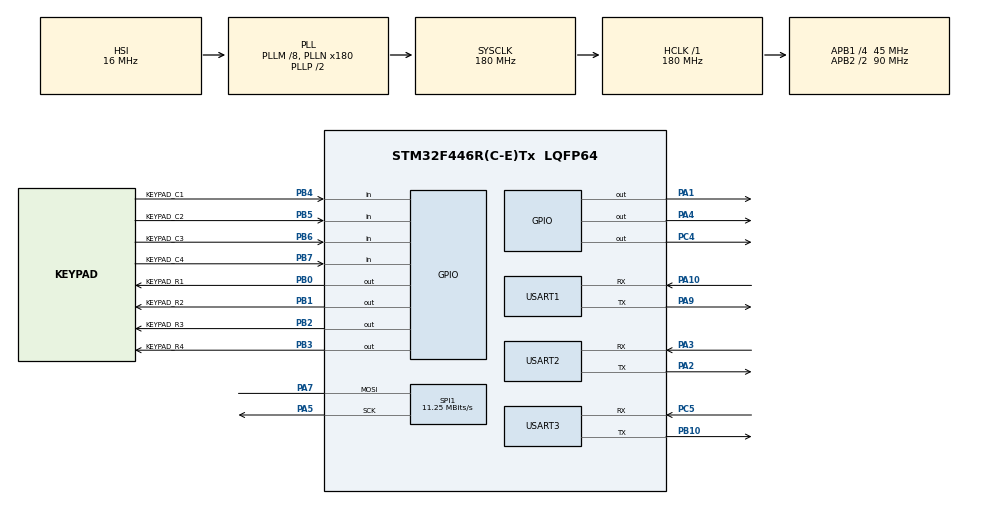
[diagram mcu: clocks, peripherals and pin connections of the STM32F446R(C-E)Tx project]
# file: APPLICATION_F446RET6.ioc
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Mcu.Family=STM32F4
Mcu.Name=STM32F446R(C-E)Tx
Mcu.Package=LQFP64
NVIC.PriorityGroup=NVIC_PRIORITYGROUP_4
NVIC.USART3_IRQn=true\:0\:0\:false\:false\:true\:true\:true\:true
PA1.Signal=GPIO_Output
PA10.Mode=Asynchronous
PA10.Signal=USART1_RX
PA2.Mode=Asynchronous
PA2.Signal=USART2_TX
PA3.Mode=Asynchronous
PA3.Signal=USART2_RX
PA4.Signal=GPIO_Output
PA5.Mode=Simplex_Bidirectional_Master
PA5.Signal=SPI1_SCK
PA7.Mode=Simplex_Bidirectional_Master
PA7.Signal=SPI1_MOSI
PA9.Mode=Asynchronous
PA9.Signal=USART1_TX
PB0.GPIO_Label=KEYPAD_R1
PB0.PinState=GPIO_PIN_SET
PB0.Signal=GPIO_Output
PB1.GPIO_Label=KEYPAD_R2
PB1.PinState=GPIO_PIN_SET
PB1.Signal=GPIO_Output
PB10.Mode=Asynchronous
PB10.Signal=USART3_TX
PB2.GPIO_Label=KEYPAD_R3
PB2.PinState=GPIO_PIN_SET
PB2.Signal=GPIO_Output
PB3.GPIO_Label=KEYPAD_R4
PB3.PinState=GPIO_PIN_SET
PB3.Signal=GPIO_Output
PB4.GPIO_Label=KEYPAD_C1
PB4.GPIO_PuPd=GPIO_PULLUP
PB4.Signal=GPIO_Input
PB5.GPIO_Label=KEYPAD_C2
PB5.GPIO_PuPd=GPIO_PULLUP
PB5.Signal=GPIO_Input
PB6.GPIO_Label=KEYPAD_C3
PB6.GPIO_PuPd=GPIO_PULLUP
PB6.Signal=GPIO_Input
PB7.GPIO_Label=KEYPAD_C4
PB7.GPIO_PuPd=GPIO_PULLUP
PB7.Signal=GPIO_Input
PC4.Signal=GPIO_Output
PC5.Mode=Asynchronous
PC5.Signal=USART3_RX
ProjectManager.HeapSize=0x200
ProjectManager.StackSize=0x400
ProjectManager.TargetToolchain=STM32CubeIDE
RCC.AHBFreq_Value=180000000
RCC.APB1CLKDivider=RCC_HCLK_DIV4
RCC.APB1Freq_Value=45000000
RCC.APB1TimFreq_Value=90000000
RCC.APB2CLKDivider=RCC_HCLK_DIV2
RCC.APB2Freq_Value=90000000
RCC.APB2TimFreq_Value=180000000
RCC.CortexFreq_Value=180000000
RCC.HCLKFreq_Value=180000000
RCC.PLLM=8
RCC.PLLN=180
RCC.SYSCLKFreq_VALUE=180000000
RCC.SYSCLKSource=RCC_SYSCLKSOURCE_PLLCLK
RCC.USBFreq_Value=180000000
RCC.VCOOutputFreq_Value=360000000
SPI1.BaudRatePrescaler=SPI_BAUDRATEPRESCALER_8
SPI1.CalculateBaudRate=11.25 MBits/s
SPI1.Direction=SPI_DIRECTION_1LINE
SPI1.Mode=SPI_MODE_MASTER
SPI1.VirtualType=VM_MASTER
USART1.VirtualMode=VM_ASYNC
USART2.VirtualMode=VM_ASYNC
USART3.VirtualMode=VM_ASYNC
board=custom

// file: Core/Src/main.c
/* USER CODE BEGIN Header */
/**
  ******************************************************************************
  * @file           : main.c
  * @brief          : Main program body
  ******************************************************************************
  * @attention
  *
  * Copyright (c) 2025 STMicroelectronics.
  * All rights reserved.
  *
  * This software is licensed under terms that can be found in the LICENSE file
  * in the root directory of this software component.
  * If no LICENSE file comes with this software, it is provided AS-IS.
  *
  ******************************************************************************
  */
/* USER CODE END Header */
#include "main.h"

/* USER CODE BEGIN Includes */
#include <stdio.h>
#include <string.h>

#include "keypad.h"

#include "ST7735.h"
#include "GFX_FUNCTIONS.h"
/* USER CODE END Includes */

/* USER CODE BEGIN PD */
#define BOOT_CMD          0x50
#define BOOT_BASE_ADDRESS 0x08000000U
/* USER CODE END PD */

SPI_HandleTypeDef hspi1;

UART_HandleTypeDef huart1;
UART_HandleTypeDef huart2;
UART_HandleTypeDef huart3;

/* USER CODE BEGIN PV */

uint8_t rx_byte = 0;
/* USER CODE END PV */

void SystemClock_Config(void);
static void MX_GPIO_Init(void);
static void MX_USART2_UART_Init(void);
static void MX_USART3_UART_Init(void);
static void MX_SPI1_Init(void);
static void MX_USART1_UART_Init(void);

/* USER CODE BEGIN 0 */
void JumpToBootloader(uint32_t boot_start_address)
{
	void (*boot_reset_handler)(void);
	uint32_t msp_value = *(volatile uint32_t*)boot_start_address;
	uint32_t reset_handler_addr = *(volatile uint32_t*)(boot_start_address + 4);
	printf("boot reset handler addr: 0x%08lx\n", reset_handler_addr);

	// Step 3: Set MSP to application's MSP
	__set_MSP(msp_value);

	// Step 4: Set the function pointer and jump
	boot_reset_handler = (void*) (reset_handler_addr | 0x1);  // Ensure Thumb bit is set
	boot_reset_handler();
}

void HAL_UART_RxCpltCallback(UART_HandleTypeDef *huart)
{
    if (huart->Instance == USART3)
    {
        if (rx_byte == BOOT_CMD)
        {
            JumpToBootloader(BOOT_BASE_ADDRESS);
        }

        // Restart UART interrupt reception for next byte
        HAL_UART_Receive_IT(&huart3, &rx_byte, 1);
    }
}

/* USER CODE END 0 */

int main(void)
{

  /* MCU Configuration--------------------------------------------------------*/

  /* Reset of all peripherals, Initializes the Flash interface and the Systick. */
  HAL_Init();

  /* Configure the system clock */
  SystemClock_Config();

  /* Initialize all configured peripherals */
  MX_GPIO_Init();
  MX_USART2_UART_Init();
  MX_USART3_UART_Init();
  MX_SPI1_Init();
  MX_USART1_UART_Init();
  /* USER CODE BEGIN 2 */
  printf("Application started....\n");
  HAL_UART_Receive_IT(&huart3, &rx_byte, 1);

  ST7735_Init(0);
  fillScreen(RED);
  printf("fill screen set to black!\n");

  ST7735_SetRotation(3);
  ST7735_WriteString(0, 0, "Hello World!", Font_16x26, YELLOW,BLACK);
  HAL_Delay(3000);
  fillScreen(RED);
  /* USER CODE END 2 */

  /* Infinite loop */
  /* USER CODE BEGIN WHILE */
  while (1)
  {

	  char key = scan_keypad();
	  if (key != '\0') {
		printf("Key Pressed: %c\r\n", key);
	  }

	  HAL_Delay(100);
    /* USER CODE END WHILE */

  }
}

void SystemClock_Config(void)
{
  RCC_OscInitTypeDef RCC_OscInitStruct = {0};
  RCC_ClkInitTypeDef RCC_ClkInitStruct = {0};

  /** Configure the main internal regulator output voltage
  */
  __HAL_RCC_PWR_CLK_ENABLE();
  __HAL_PWR_VOLTAGESCALING_CONFIG(PWR_REGULATOR_VOLTAGE_SCALE1);

  /** Initializes the RCC Oscillators according to the specified parameters
  * in the RCC_OscInitTypeDef structure.
  */
  RCC_OscInitStruct.OscillatorType = RCC_OSCILLATORTYPE_HSI;
  RCC_OscInitStruct.HSIState = RCC_HSI_ON;
  RCC_OscInitStruct.HSICalibrationValue = RCC_HSICALIBRATION_DEFAULT;
  RCC_OscInitStruct.PLL.PLLState = RCC_PLL_ON;
  RCC_OscInitStruct.PLL.PLLSource = RCC_PLLSOURCE_HSI;
  RCC_OscInitStruct.PLL.PLLM = 8;
  RCC_OscInitStruct.PLL.PLLN = 180;
  RCC_OscInitStruct.PLL.PLLP = RCC_PLLP_DIV2;
  RCC_OscInitStruct.PLL.PLLQ = 2;
  RCC_OscInitStruct.PLL.PLLR = 2;
  if (HAL_RCC_OscConfig(&RCC_OscInitStruct) != HAL_OK)
  {
    Error_Handler();
  }

  /** Activate the Over-Drive mode
  */
  if (HAL_PWREx_EnableOverDrive() != HAL_OK)
  {
    Error_Handler();
  }

  /** Initializes the CPU, AHB and APB buses clocks
  */
  RCC_ClkInitStruct.ClockType = RCC_CLOCKTYPE_HCLK|RCC_CLOCKTYPE_SYSCLK
                              |RCC_CLOCKTYPE_PCLK1|RCC_CLOCKTYPE_PCLK2;
  RCC_ClkInitStruct.SYSCLKSource = RCC_SYSCLKSOURCE_PLLCLK;
  RCC_ClkInitStruct.AHBCLKDivider = RCC_SYSCLK_DIV1;
  RCC_ClkInitStruct.APB1CLKDivider = RCC_HCLK_DIV4;
  RCC_ClkInitStruct.APB2CLKDivider = RCC_HCLK_DIV2;

  if (HAL_RCC_ClockConfig(&RCC_ClkInitStruct, FLASH_LATENCY_5) != HAL_OK)
  {
    Error_Handler();
  }
}

static void MX_SPI1_Init(void)
{

  /* SPI1 parameter configuration*/
  hspi1.Instance = SPI1;
  hspi1.Init.Mode = SPI_MODE_MASTER;
  hspi1.Init.Direction = SPI_DIRECTION_1LINE;
  hspi1.Init.DataSize = SPI_DATASIZE_8BIT;
  hspi1.Init.CLKPolarity = SPI_POLARITY_LOW;
  hspi1.Init.CLKPhase = SPI_PHASE_1EDGE;
  hspi1.Init.NSS = SPI_NSS_SOFT;
  hspi1.Init.BaudRatePrescaler = SPI_BAUDRATEPRESCALER_8;
  hspi1.Init.FirstBit = SPI_FIRSTBIT_MSB;
  hspi1.Init.TIMode = SPI_TIMODE_DISABLE;
  hspi1.Init.CRCCalculation = SPI_CRCCALCULATION_DISABLE;
  hspi1.Init.CRCPolynomial = 10;
  if (HAL_SPI_Init(&hspi1) != HAL_OK)
  {
    Error_Handler();
  }

}

static void MX_USART1_UART_Init(void)
{

  huart1.Instance = USART1;
  huart1.Init.BaudRate = 115200;
  huart1.Init.WordLength = UART_WORDLENGTH_8B;
  huart1.Init.StopBits = UART_STOPBITS_1;
  huart1.Init.Parity = UART_PARITY_NONE;
  huart1.Init.Mode = UART_MODE_TX_RX;
  huart1.Init.HwFlowCtl = UART_HWCONTROL_NONE;
  huart1.Init.OverSampling = UART_OVERSAMPLING_16;
  if (HAL_UART_Init(&huart1) != HAL_OK)
  {
    Error_Handler();
  }

}

static void MX_USART2_UART_Init(void)
{

  huart2.Instance = USART2;
  huart2.Init.BaudRate = 115200;
  huart2.Init.WordLength = UART_WORDLENGTH_8B;
  huart2.Init.StopBits = UART_STOPBITS_1;
  huart2.Init.Parity = UART_PARITY_NONE;
  huart2.Init.Mode = UART_MODE_TX_RX;
  huart2.Init.HwFlowCtl = UART_HWCONTROL_NONE;
  huart2.Init.OverSampling = UART_OVERSAMPLING_16;
  if (HAL_UART_Init(&huart2) != HAL_OK)
  {
    Error_Handler();
  }

}

static void MX_USART3_UART_Init(void)
{

  huart3.Instance = USART3;
  huart3.Init.BaudRate = 115200;
  huart3.Init.WordLength = UART_WORDLENGTH_8B;
  huart3.Init.StopBits = UART_STOPBITS_1;
  huart3.Init.Parity = UART_PARITY_NONE;
  huart3.Init.Mode = UART_MODE_TX_RX;
  huart3.Init.HwFlowCtl = UART_HWCONTROL_NONE;
  huart3.Init.OverSampling = UART_OVERSAMPLING_16;
  if (HAL_UART_Init(&huart3) != HAL_OK)
  {
    Error_Handler();
  }

}

static void MX_GPIO_Init(void)
{
  GPIO_InitTypeDef GPIO_InitStruct = {0};

  /* GPIO Ports Clock Enable */
  __HAL_RCC_GPIOA_CLK_ENABLE();
  __HAL_RCC_GPIOC_CLK_ENABLE();
  __HAL_RCC_GPIOB_CLK_ENABLE();

  /*Configure GPIO pin Output Level */
  HAL_GPIO_WritePin(GPIOA, GPIO_PIN_1|GPIO_PIN_4, GPIO_PIN_RESET);

  /*Configure GPIO pin Output Level */
  HAL_GPIO_WritePin(GPIOC, GPIO_PIN_4, GPIO_PIN_RESET);

  /*Configure GPIO pin Output Level */
  HAL_GPIO_WritePin(GPIOB, KEYPAD_R1_Pin|KEYPAD_R2_Pin|KEYPAD_R3_Pin|KEYPAD_R4_Pin, GPIO_PIN_SET);

  /*Configure GPIO pins : PA1 PA4 */
  GPIO_InitStruct.Pin = GPIO_PIN_1|GPIO_PIN_4;
  GPIO_InitStruct.Mode = GPIO_MODE_OUTPUT_PP;
  GPIO_InitStruct.Pull = GPIO_NOPULL;
  GPIO_InitStruct.Speed = GPIO_SPEED_FREQ_LOW;
  HAL_GPIO_Init(GPIOA, &GPIO_InitStruct);

  /*Configure GPIO pin : PC4 */
  GPIO_InitStruct.Pin = GPIO_PIN_4;
  GPIO_InitStruct.Mode = GPIO_MODE_OUTPUT_PP;
  GPIO_InitStruct.Pull = GPIO_NOPULL;
  GPIO_InitStruct.Speed = GPIO_SPEED_FREQ_LOW;
  HAL_GPIO_Init(GPIOC, &GPIO_InitStruct);

  /*Configure GPIO pins : KEYPAD_R1_Pin KEYPAD_R2_Pin KEYPAD_R3_Pin KEYPAD_R4_Pin */
  GPIO_InitStruct.Pin = KEYPAD_R1_Pin|KEYPAD_R2_Pin|KEYPAD_R3_Pin|KEYPAD_R4_Pin;
  GPIO_InitStruct.Mode = GPIO_MODE_OUTPUT_PP;
  GPIO_InitStruct.Pull = GPIO_NOPULL;
  GPIO_InitStruct.Speed = GPIO_SPEED_FREQ_LOW;
  HAL_GPIO_Init(GPIOB, &GPIO_InitStruct);

  /*Configure GPIO pins : KEYPAD_C1_Pin KEYPAD_C2_Pin KEYPAD_C3_Pin KEYPAD_C4_Pin */
  GPIO_InitStruct.Pin = KEYPAD_C1_Pin|KEYPAD_C2_Pin|KEYPAD_C3_Pin|KEYPAD_C4_Pin;
  GPIO_InitStruct.Mode = GPIO_MODE_INPUT;
  GPIO_InitStruct.Pull = GPIO_PULLUP;
  HAL_GPIO_Init(GPIOB, &GPIO_InitStruct);

}

/* USER CODE BEGIN 4 */
#define PRINTF   int __io_putchar(int ch)
PRINTF
{
	HAL_UART_Transmit(&huart2, (uint8_t*)&ch, 1, HAL_MAX_DELAY);
	return ch;
}

/* USER CODE END 4 */

void Error_Handler(void)
{
  __disable_irq();
  while (1)
  {
  }
}
